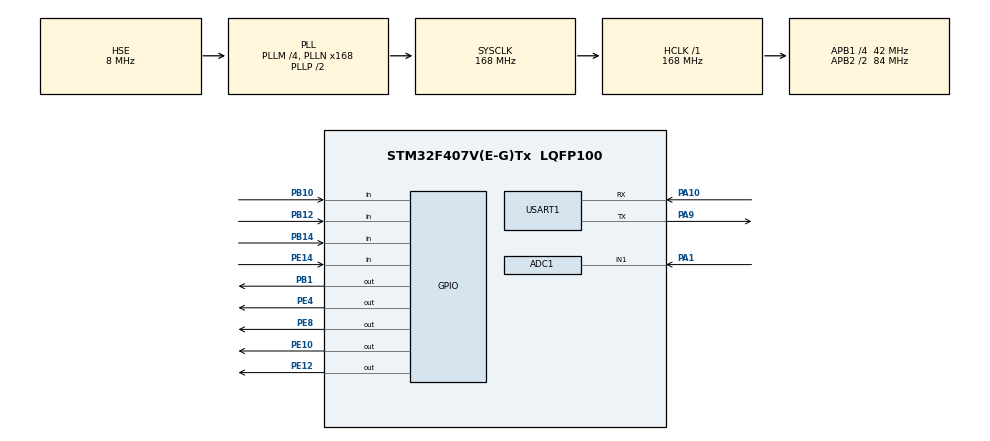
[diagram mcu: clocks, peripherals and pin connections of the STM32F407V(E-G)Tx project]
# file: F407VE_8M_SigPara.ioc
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ADC1.Channel-0\#ChannelRegularConversion=ADC_CHANNEL_1
ADC1.ExternalTrigConv=ADC_EXTERNALTRIGCONV_T2_TRGO
ADC1.NbrOfConversionFlag=1
ADC1.Rank-0\#ChannelRegularConversion=1
ADC1.SamplingTime-0\#ChannelRegularConversion=ADC_SAMPLETIME_3CYCLES
ADC1.master=1
Dma.ADC1.0.Direction=DMA_PERIPH_TO_MEMORY
Dma.ADC1.0.FIFOMode=DMA_FIFOMODE_DISABLE
Dma.ADC1.0.Instance=DMA2_Stream0
Dma.ADC1.0.MemDataAlignment=DMA_MDATAALIGN_HALFWORD
Dma.ADC1.0.MemInc=DMA_MINC_ENABLE
Dma.ADC1.0.Mode=DMA_NORMAL
Dma.ADC1.0.PeriphDataAlignment=DMA_PDATAALIGN_HALFWORD
Dma.ADC1.0.PeriphInc=DMA_PINC_DISABLE
Dma.ADC1.0.Priority=DMA_PRIORITY_LOW
Dma.Request0=ADC1
Mcu.Family=STM32F4
Mcu.Name=STM32F407V(E-G)Tx
Mcu.Package=LQFP100
NVIC.DMA2_Stream0_IRQn=true\:0\:0\:false\:false\:true\:false\:true
NVIC.PriorityGroup=NVIC_PRIORITYGROUP_4
NVIC.USART1_IRQn=true\:0\:0\:false\:false\:true\:true\:true
PA1.Signal=ADCx_IN1
PA10.Mode=Asynchronous
PA10.Signal=USART1_RX
PA13.Mode=Serial_Wire
PA13.Signal=SYS_JTMS-SWDIO
PA14.Mode=Serial_Wire
PA14.Signal=SYS_JTCK-SWCLK
PA9.Mode=Asynchronous
PA9.Signal=USART1_TX
PB1.GPIO_ModeDefaultOutputPP=GPIO_MODE_OUTPUT_PP
PB1.GPIO_PuPd=GPIO_PULLUP
PB1.GPIO_Speed=GPIO_SPEED_FREQ_VERY_HIGH
PB1.PinState=GPIO_PIN_SET
PB1.Signal=GPIO_Output
PB10.GPIO_Mode=GPIO_MODE_INPUT
PB10.GPIO_PuPd=GPIO_PULLDOWN
PB10.Signal=GPIO_Input
PB12.GPIO_Mode=GPIO_MODE_INPUT
PB12.GPIO_PuPd=GPIO_PULLDOWN
PB12.Signal=GPIO_Input
PB14.GPIO_Mode=GPIO_MODE_INPUT
PB14.GPIO_PuPd=GPIO_PULLDOWN
PB14.Signal=GPIO_Input
PC14-OSC32_IN.Mode=LSE-External-Oscillator
PC14-OSC32_IN.Signal=RCC_OSC32_IN
PC15-OSC32_OUT.Mode=LSE-External-Oscillator
PC15-OSC32_OUT.Signal=RCC_OSC32_OUT
PE10.GPIO_ModeDefaultOutputPP=GPIO_MODE_OUTPUT_PP
PE10.GPIO_PuPd=GPIO_PULLUP
PE10.GPIO_Speed=GPIO_SPEED_FREQ_VERY_HIGH
PE10.PinState=GPIO_PIN_SET
PE10.Signal=GPIO_Output
PE12.GPIO_ModeDefaultOutputPP=GPIO_MODE_OUTPUT_PP
PE12.GPIO_PuPd=GPIO_PULLUP
PE12.GPIO_Speed=GPIO_SPEED_FREQ_VERY_HIGH
PE12.PinState=GPIO_PIN_SET
PE12.Signal=GPIO_Output
PE14.GPIO_Mode=GPIO_MODE_INPUT
PE14.GPIO_PuPd=GPIO_PULLDOWN
PE14.Signal=GPIO_Input
PE4.GPIO_ModeDefaultOutputPP=GPIO_MODE_OUTPUT_PP
PE4.GPIO_PuPd=GPIO_PULLUP
PE4.GPIO_Speed=GPIO_SPEED_FREQ_VERY_HIGH
PE4.PinState=GPIO_PIN_SET
PE4.Signal=GPIO_Output
PE8.GPIO_ModeDefaultOutputPP=GPIO_MODE_OUTPUT_PP
PE8.GPIO_PuPd=GPIO_PULLUP
PE8.GPIO_Speed=GPIO_SPEED_FREQ_VERY_HIGH
PE8.PinState=GPIO_PIN_SET
PE8.Signal=GPIO_Output
PH0-OSC_IN.Mode=HSE-External-Oscillator
PH0-OSC_IN.Signal=RCC_OSC_IN
PH1-OSC_OUT.Mode=HSE-External-Oscillator
PH1-OSC_OUT.Signal=RCC_OSC_OUT
ProjectManager.HeapSize=0x200
ProjectManager.StackSize=0x400
ProjectManager.TargetToolchain=MDK-ARM V5.27
RCC.48MHZClocksFreq_Value=84000000
RCC.AHBFreq_Value=168000000
RCC.APB1CLKDivider=RCC_HCLK_DIV4
RCC.APB1Freq_Value=42000000
RCC.APB1TimFreq_Value=84000000
RCC.APB2CLKDivider=RCC_HCLK_DIV2
RCC.APB2Freq_Value=84000000
RCC.APB2TimFreq_Value=168000000
RCC.CortexFreq_Value=168000000
RCC.HCLKFreq_Value=168000000
RCC.HSE_VALUE=8000000
RCC.HSI_VALUE=16000000
RCC.PLLM=4
RCC.PLLN=168
RCC.PLLSourceVirtual=RCC_PLLSOURCE_HSE
RCC.SYSCLKFreq_VALUE=168000000
RCC.SYSCLKSource=RCC_SYSCLKSOURCE_PLLCLK
RCC.VCOOutputFreq_Value=336000000
SH.ADCx_IN1.0=ADC1_IN1,IN1
USART1.VirtualMode=VM_ASYNC
VP_TIM2_VS_ClockSourceINT.Mode=Internal
board=custom

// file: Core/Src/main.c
/* USER CODE BEGIN Header */
/**
  ******************************************************************************
  * @file           : main.c
  * @brief          : Main program body
  ******************************************************************************
  * @attention
  *
  * <h2><center>&copy; Copyright (c) 2021 STMicroelectronics.
  * All rights reserved.</center></h2>
  *
  * This software component is licensed by ST under BSD 3-Clause license,
  * the "License"; You may not use this file except in compliance with the
  * License. You may obtain a copy of the License at:
  *                        opensource.org/licenses/BSD-3-Clause
  *
  ******************************************************************************
  */
/* USER CODE END Header */
#include "main.h"
#include "adc.h"
#include "dma.h"
#include "tim.h"
#include "usart.h"
#include "gpio.h"

/* USER CODE BEGIN Includes */
#include "DELAY/delay.h"
#include "SIGNAL/sigpara.h"
#include "USART/myusart1.h"
#include "UTIL/util.h"
/* USER CODE END Includes */

/* USER CODE BEGIN PD */
#define DATA_LEN 10
/* USER CODE END PD */

/* USER CODE BEGIN PV */
uint16_t rawData[DATA_LEN];
float32_t rawData_f[DATA_LEN];

/* USER CODE END PV */

void SystemClock_Config(void);

/* USER CODE BEGIN 0 */
float32_t RMS_Process()
{
  uint32_t i;
  for(i=0;i<DATA_LEN;i++)
    rawData_f[i]=rawData[i];
  return SigPara_RMS(rawData_f,DATA_LEN);
}
/* USER CODE END 0 */

int main(void)
{
  /* USER CODE BEGIN 1 */
  char str[20];
  double freq, duty;
  /* USER CODE END 1 */

  /* MCU Configuration--------------------------------------------------------*/

  /* Reset of all peripherals, Initializes the Flash interface and the Systick. */
  HAL_Init();

  /* Configure the system clock */
  SystemClock_Config();

  /* Initialize all configured peripherals */
  MX_GPIO_Init();
  MX_DMA_Init();
  MX_USART1_UART_Init();
  MX_ADC1_Init();
  MX_TIM2_Init();
  /* USER CODE BEGIN 2 */
  Delay_Init(168);
  //SigPara_Freq_LF_Init();
  MyUSART1_Init(&huart1);
  SigPara_PWM_Init();

  //HAL_TIM_Base_Start(&htim2);

  //SigPara_Freq_Auto();

  //SigPara_Freq_HF_Init();
  //SigPara_Freq_LF_Init();

  //SigPara_Freq_Auto_SetMinPrecision(1);
  //SigPara_Freq_Auto_SetMaxTimeout(10000);

  /* USER CODE END 2 */

  /* Infinite loop */
  while (1)
  {

    /* USER CODE BEGIN 3 */

    //HAL_ADC_Start_DMA(&hadc1,(uint32_t*)rawData,DATA_LEN);
    //Delay_ms(500);

    // DMAContinuousRequests should be DISABLED, otherwise the data in buffer
    // is not all valid(might be overwrite)

    // if DMAContinuousRequests is DISABLED, the ADC will not send new
    // DMA requests if any data is not write to DMA.(this will happen when
    // the DMA is full)
    // However, in this case, the ADC_CR2_DMA is still HIGH
    // So I need to reset ADC_CR2_DMA to restart transfer from ADC to DMA

    // set ADC_CR2_DMA to 0 then to 1

    //hadc1.Instance->CR2 &= ~ADC_CR2_DMA;
    //sprintf(str,"val: %f",RMS_Process()*3.3/4096);
    //MyUSART1_WriteLine(str);

    Delay_ms(500);
    // 42000 contains 7 and 3, which can counteract the prime factor in 84MHz
    // 42000*20 = 840000, ~10ms per measurement
    // deltaF = 100Hz, E = 100Hz / f_actural
    //myftoa(SigPara_Freq_HF(42000, 20), str);
    //myftoa(SigPara_Freq_LF(500), str);
    //MyUSART1_WriteLine(str);

    //myftoa(SigPara_Freq_Auto(), str);
    //MyUSART1_WriteLine(str);
    duty = SigPara_PWM(500, &freq);
    printf("freq: %f, duty cycle: %f\r\n", freq, duty);
  }
  /* USER CODE END 3 */
}

void SystemClock_Config(void)
{
  RCC_OscInitTypeDef RCC_OscInitStruct = {0};
  RCC_ClkInitTypeDef RCC_ClkInitStruct = {0};

  /** Configure the main internal regulator output voltage
  */
  __HAL_RCC_PWR_CLK_ENABLE();
  __HAL_PWR_VOLTAGESCALING_CONFIG(PWR_REGULATOR_VOLTAGE_SCALE1);
  /** Initializes the RCC Oscillators according to the specified parameters
  * in the RCC_OscInitTypeDef structure.
  */
  RCC_OscInitStruct.OscillatorType = RCC_OSCILLATORTYPE_HSE;
  RCC_OscInitStruct.HSEState = RCC_HSE_ON;
  RCC_OscInitStruct.PLL.PLLState = RCC_PLL_ON;
  RCC_OscInitStruct.PLL.PLLSource = RCC_PLLSOURCE_HSE;
  RCC_OscInitStruct.PLL.PLLM = 4;
  RCC_OscInitStruct.PLL.PLLN = 168;
  RCC_OscInitStruct.PLL.PLLP = RCC_PLLP_DIV2;
  RCC_OscInitStruct.PLL.PLLQ = 4;
  if (HAL_RCC_OscConfig(&RCC_OscInitStruct) != HAL_OK)
  {
    Error_Handler();
  }
  /** Initializes the CPU, AHB and APB buses clocks
  */
  RCC_ClkInitStruct.ClockType = RCC_CLOCKTYPE_HCLK|RCC_CLOCKTYPE_SYSCLK
                              |RCC_CLOCKTYPE_PCLK1|RCC_CLOCKTYPE_PCLK2;
  RCC_ClkInitStruct.SYSCLKSource = RCC_SYSCLKSOURCE_PLLCLK;
  RCC_ClkInitStruct.AHBCLKDivider = RCC_SYSCLK_DIV1;
  RCC_ClkInitStruct.APB1CLKDivider = RCC_HCLK_DIV4;
  RCC_ClkInitStruct.APB2CLKDivider = RCC_HCLK_DIV2;

  if (HAL_RCC_ClockConfig(&RCC_ClkInitStruct, FLASH_LATENCY_5) != HAL_OK)
  {
    Error_Handler();
  }
}

void Error_Handler(void)
{
  __disable_irq();
  while (1)
  {
  }
}

/************************ (C) COPYRIGHT STMicroelectronics *****END OF FILE****/
